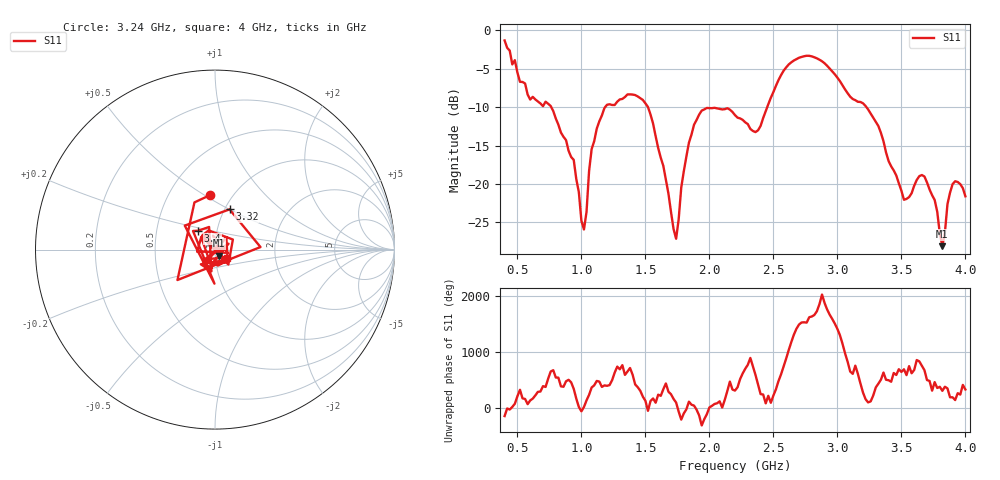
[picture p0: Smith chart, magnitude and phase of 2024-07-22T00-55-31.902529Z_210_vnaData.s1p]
!Created with skrf (http://scikit-rf.org).
# Hz S RI R 50.0
!freq ReS11 ImS11
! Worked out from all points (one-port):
!   181 points, 400 MHz to 4 GHz, reference 50 ohm
!   lowest |S11| = -28.1 dB at 3.82 GHz (marker M1), VSWR 1.08, Z = 52.1 - j3.46 ohm
!   |S11| at or under -10 dB: 764.4 MHz to 1.186 GHz (421.1 MHz wide, 43.2 % of centre); 1.52 GHz to 2.452 GHz (931.5 MHz wide, 46.9 % of centre); 3.226 GHz to end of sweep
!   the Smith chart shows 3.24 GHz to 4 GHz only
!   S11 on the Smith chart (normalised r, x): 3.24 GHz: 0.79, +0.53; 3.32 GHz: 1.05, +0.50; 3.4 GHz: 0.81, +0.17; 4 GHz: 1.14, -0.11
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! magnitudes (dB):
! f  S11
! 400 MHz  -1.3
! 600 MHz  -9.0
! 760 MHz  -9.9
! 860 MHz  -13.9
! 940 MHz  -16.9
! 1.02 GHz  -25.9
! 1.08 GHz  -15.5
! 1.12 GHz  -12.8
! 1.3 GHz  -9.0
! 1.52 GHz  -10.0
! 1.74 GHz  -27.1
! 1.76 GHz  -24.6
! 1.84 GHz  -14.6
! 1.92 GHz  -11.0
! 2.2 GHz  -11.0
! 2.38 GHz  -13.0
! 2.66 GHz  -3.9
! 2.88 GHz  -4.0
! 3.1 GHz  -8.6
! 3.24 GHz  -10.3
! 3.32 GHz  -12.5
! 3.4 GHz  -17.0
! 3.56 GHz  -21.7
! 3.68 GHz  -19.0
! 3.76 GHz  -22.1
! 3.82 GHz  -28.1
! 3.9 GHz  -20.0
! 4 GHz  -21.6
